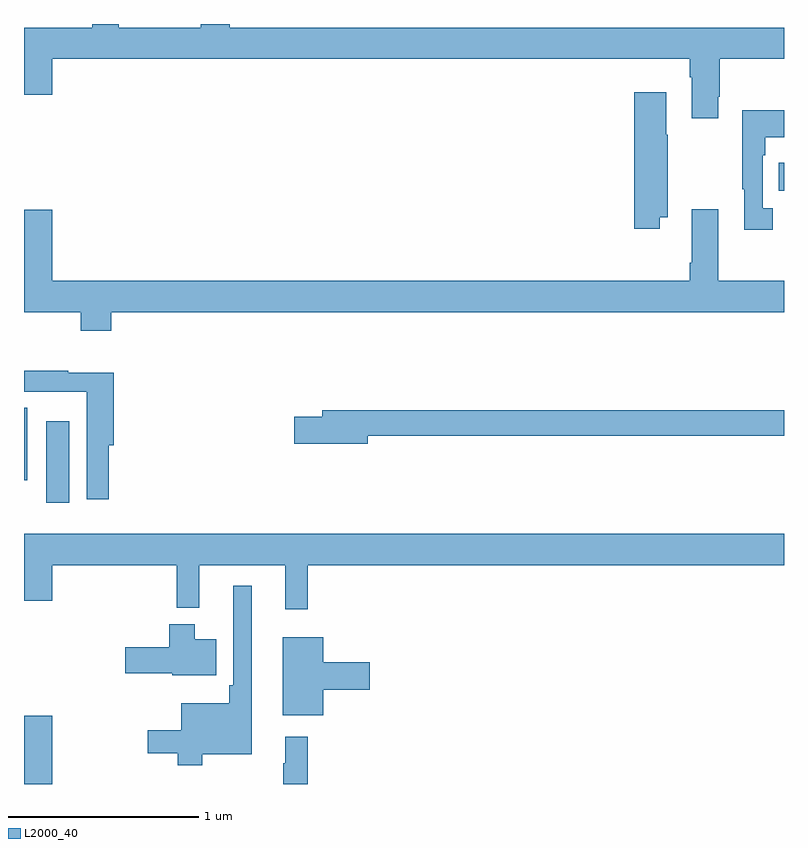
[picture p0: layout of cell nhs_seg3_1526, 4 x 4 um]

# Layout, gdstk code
import gdstk
lib = gdstk.Library(unit=1e-6, precision=1e-09)
def R(c, l, rs):  # rectangles x0, y0, x1, y1
    for r in rs: c.add(gdstk.rectangle(r[:2], r[2:], *l))
def P(c, l, *ps):  # polygons
    for p in ps: c.add(gdstk.Polygon(p, *l))
L2000_40 = (2000, 40)

nhs_seg3_1526 = lib.new_cell('nhs_seg3_1526')
R(nhs_seg3_1526, L2000_40, [(189,730.4,189.148,730.759), (189.116,731.88,189.238,732.31), (189,732,189.016,732.38), (192.973,733.522,193,733.669)])
P(nhs_seg3_1526, L2000_40, [(190.082,734.4),(189.929,734.4),(189.929,734.38),(189.499,734.38),(189.499,734.4),(189.359,734.4),(189.359,734.38),(189,734.38),(189,734.028),(189.148,734.028),(189.148,734.216),(192.503,734.216),(192.503,734.12),(192.515,734.12),(192.515,733.905),(192.655,733.905),(192.655,734.017),(192.663,734.017),(192.663,734.216),(193,734.216),(193,734.38),(190.082,734.38)],
  [(192.346,733.382),(192.387,733.382),(192.387,733.817),(192.379,733.817),(192.379,734.041),(192.212,734.041),(192.212,733.323),(192.346,733.323)],
  [(192.94,733.43),(192.888,733.43),(192.888,733.709),(192.901,733.709),(192.901,733.805),(193,733.805),(193,733.945),(192.78,733.945),(192.78,733.529),(192.791,733.529),(192.791,733.317),(192.94,733.317)],
  [(189.458,732.884),(193,732.884),(193,733.048),(192.655,733.048),(192.655,733.426),(192.515,733.426),(192.515,733.144),(192.503,733.144),(192.503,733.048),(189.148,733.048),(189.148,733.423),(189,733.423),(189,732.884),(189.298,732.884),(189.298,732.785),(189.458,732.785)],
  [(189.446,732.182),(189.473,732.182),(189.473,732.564),(189.233,732.564),(189.233,732.574),(189,732.574),(189,732.465),(189.12,732.465),(189.12,732.464),(189.33,732.464),(189.33,731.898),(189.446,731.898)],
  [(190.81,732.232),(193,732.232),(193,732.368),(190.571,732.368),(190.571,732.332),(190.422,732.332),(190.422,732.19),(190.81,732.19)],
  [(190.493,731.552),(193,731.552),(193,731.716),(189,731.716),(189,731.364),(189.148,731.364),(189.148,731.552),(189.805,731.552),(189.805,731.327),(189.923,731.327),(189.923,731.552),(190.376,731.552),(190.376,731.319),(190.493,731.319)],
  [(189.937,730.556),(190.198,730.556),(190.198,731.443),(190.101,731.443),(190.101,730.921),(190.081,730.921),(190.081,730.825),(189.827,730.825),(189.827,730.684),(189.651,730.684),(189.651,730.562),(189.808,730.562),(189.808,730.499),(189.937,730.499)],
  [(190.012,731.161),(189.898,731.161),(189.898,731.242),(189.764,731.242),(189.764,731.121),(189.534,731.121),(189.534,730.984),(189.78,730.984),(189.78,730.973),(190.012,730.973)],
  [(190.576,730.895),(190.819,730.895),(190.819,731.042),(190.576,731.042),(190.576,731.173),(190.361,731.173),(190.361,730.763),(190.576,730.763)],
  [(190.493,730.648),(190.376,730.648),(190.376,730.508),(190.365,730.508),(190.365,730.4),(190.493,730.4)])

lib.write_gds('nhs_seg3_1526.gds')
